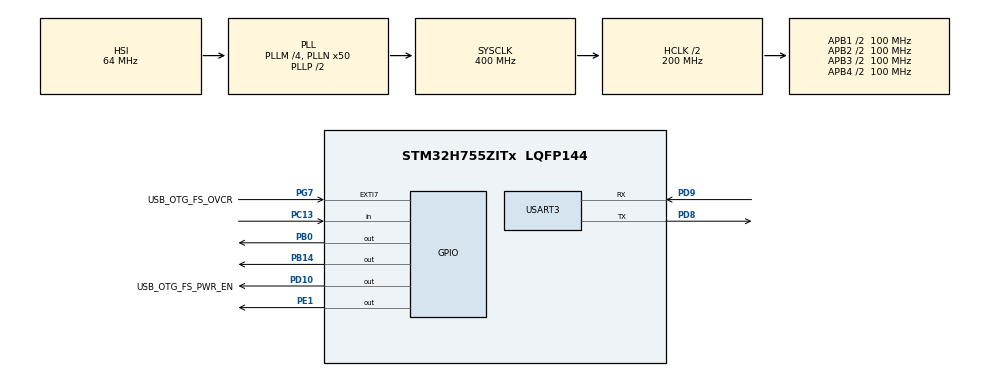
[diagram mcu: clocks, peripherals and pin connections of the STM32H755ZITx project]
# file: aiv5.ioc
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CORTEX_M7.CPU_DCache=Enabled
CORTEX_M7.CPU_ICache=Enabled
CortexM4.IPs=FATFS_M4\:I,FREERTOS_M4\:I,IWDG2\:I,RCC,WWDG2\:I,DMA,BDMA,MDMA,NVIC2\:I,ETH,DEBUG,PDM2PCM_M4\:I,PWR,RESMGR_UTILITY,SYS_M4\:I,USB_DEVICE_M4\:I,USB_HOST_M4\:I,CORTEX_M4\:I,GPIO,OPENAMP_M4\:I,VREFBUF,NUCLEO-H755ZI-Q,USART3
CortexM7.IPs=FATFS_M7\:I,FREERTOS_M7\:I,IWDG1\:I,RCC\:I,WWDG1\:I,DMA\:I,BDMA\:I,MDMA\:I,NVIC1\:I,ETH\:I,USART3\:I,USB_OTG_FS\:I,SYS\:I,CORTEX_M7\:I,DEBUG\:I,PDM2PCM_M7\:I,PWR\:I,RESMGR_UTILITY\:I,USB_DEVICE_M7\:I,USB_HOST_M7\:I,GPIO\:I,OPENAMP_M7\:I,VREFBUF\:I,NUCLEO-H755ZI-Q\:I,STMicroelectronics.X-CUBE-AI.8.1.0_M7\:I,CRC\:I
Mcu.Family=STM32H7
Mcu.Name=STM32H755ZITx
Mcu.Package=LQFP144
NVIC1.PriorityGroup=NVIC_PRIORITYGROUP_4
NVIC2.PriorityGroup=NVIC_PRIORITYGROUP_4
PA1.PinAttribute=CortexM7
PA1.Signal=ETH_REF_CLK
PA11.PinAttribute=CortexM7
PA11.Signal=USB_OTG_FS_DM
PA12.PinAttribute=CortexM7
PA12.Signal=USB_OTG_FS_DP
PA2.PinAttribute=CortexM7
PA2.Signal=ETH_MDIO
PA7.PinAttribute=CortexM7
PA7.Signal=ETH_CRS_DV
PA8.PinAttribute=CortexM7
PA8.Signal=USB_OTG_FS_SOF
PA9.PinAttribute=CortexM7
PA9.Signal=USB_OTG_FS_VBUS
PB0.PinAttribute=Free
PB0.Signal=GPIO_Output
PB13.PinAttribute=CortexM7
PB13.Signal=ETH_TXD1
PB14.PinAttribute=Free
PB14.Signal=GPIO_Output
PC1.PinAttribute=CortexM7
PC1.Signal=ETH_MDC
PC13.PinAttribute=Free
PC13.Signal=GPIO_Input
PC14-OSC32_IN\ (OSC32_IN).PinAttribute=Free
PC14-OSC32_IN\ (OSC32_IN).Signal=RCC_OSC32_IN
PC15-OSC32_OUT\ (OSC32_OUT).PinAttribute=Free
PC15-OSC32_OUT\ (OSC32_OUT).Signal=RCC_OSC32_OUT
PC4.PinAttribute=CortexM7
PC4.Signal=ETH_RXD0
PC5.PinAttribute=CortexM7
PC5.Signal=ETH_RXD1
PD10.GPIO_Label=USB_OTG_FS_PWR_EN
PD10.PinAttribute=Free
PD10.Signal=GPIO_Output
PD8.Mode=Asynchronous
PD8.PinAttribute=CortexM7
PD8.Signal=USART3_TX
PD9.Mode=Asynchronous
PD9.PinAttribute=CortexM7
PD9.Signal=USART3_RX
PE1.PinAttribute=Free
PE1.Signal=GPIO_Output
PG11.PinAttribute=CortexM7
PG11.Signal=ETH_TX_EN
PG13.PinAttribute=CortexM7
PG13.Signal=ETH_TXD0
PG7.GPIO_Label=USB_OTG_FS_OVCR
PG7.PinAttribute=Free
PG7.Signal=GPXTI7
PH0-OSC_IN\ (PH0).Mode=HSE-External-Clock-Source
PH0-OSC_IN\ (PH0).PinAttribute=Free
PH0-OSC_IN\ (PH0).Signal=RCC_OSC_IN
PH1-OSC_OUT\ (PH1).PinAttribute=Free
PH1-OSC_OUT\ (PH1).Signal=RCC_OSC_OUT
ProjectManager.HeapSize=M4-0x200,M7-0x200
ProjectManager.StackSize=M4-0x400,M7-0x400
ProjectManager.TargetToolchain=STM32CubeIDE
RCC.ADCFreq_Value=129000000
RCC.APB1Freq_Value=100000000
RCC.APB2Freq_Value=100000000
RCC.APB3Freq_Value=100000000
RCC.APB4Freq_Value=100000000
RCC.CortexFreq_Value=400000000
RCC.D1PPRE=RCC_APB3_DIV2
RCC.D2PPRE1=RCC_APB1_DIV2
RCC.D2PPRE2=RCC_APB2_DIV2
RCC.D3PPRE=RCC_APB4_DIV2
RCC.DIVM1=4
RCC.DIVN1=50
RCC.DIVQ1=5
RCC.HCLKFreq_Value=200000000
RCC.HPRE=RCC_HCLK_DIV2
RCC.HSE_VALUE=8000000
RCC.PLL2FRACN=0
RCC.PLL3FRACN=0
RCC.PLLFRACN=0
RCC.SYSCLKFreq_VALUE=400000000
RCC.SYSCLKSource=RCC_SYSCLKSOURCE_PLLCLK
RCC.SupplySource=PWR_DIRECT_SMPS_SUPPLY
RCC.USBFreq_Value=160000000
STMicroelectronics.X-CUBE-AI.8.1.0_M7.ActivationBufferSizeList=95028
STMicroelectronics.X-CUBE-AI.8.1.0_M7.ActivationBuffers=pool0
STMicroelectronics.X-CUBE-AI.8.1.0_M7.ActivationNames=pool0
STMicroelectronics.X-CUBE-AI.8.1.0_M7.ActivationSizes=AI_NETWORK_DATA_ACTIVATION_1_SIZE
STMicroelectronics.X-CUBE-AI.8.1.0_M7.ApplicationCcDeviceJjApplication=ApplicationTemplate
STMicroelectronics.X-CUBE-AI.8.1.0_M7.HeapSize=0x800
STMicroelectronics.X-CUBE-AI.8.1.0_M7.InternalRamActivationBufferMaxSize=AI_NETWORK_DATA_ACTIVATIONS_SIZE
STMicroelectronics.X-CUBE-AI.8.1.0_M7.LatestDirectoryUsed-cd3fb7eecf307ad350cd4b7abc4d33ec42c45102615e5b3e1fad2fab63f1bacb=C\:\\Users\\bjs\\Downloads\\HAR-CNN-Keras-master\\HAR-CNN-Keras-master
STMicroelectronics.X-CUBE-AI.8.1.0_M7.MaximumNumberOfInputLayer=1
STMicroelectronics.X-CUBE-AI.8.1.0_M7.MaximumNumberOfOutputLayer=1
STMicroelectronics.X-CUBE-AI.8.1.0_M7.MaximumSizeOfInputLayer=1
STMicroelectronics.X-CUBE-AI.8.1.0_M7.MaximumSizeOfOutputLayer=1
STMicroelectronics.X-CUBE-AI.8.1.0_M7.ModelActualCompression-cd3fb7eecf307ad350cd4b7abc4d33ec42c45102615e5b3e1fad2fab63f1bacb=3.726838
STMicroelectronics.X-CUBE-AI.8.1.0_M7.ModelCompression-cd3fb7eecf307ad350cd4b7abc4d33ec42c45102615e5b3e1fad2fab63f1bacb=Low
STMicroelectronics.X-CUBE-AI.8.1.0_M7.ModelFlashOccupation-cd3fb7eecf307ad350cd4b7abc4d33ec42c45102615e5b3e1fad2fab63f1bacb=811590
STMicroelectronics.X-CUBE-AI.8.1.0_M7.ModelHashList=cd3fb7eecf307ad350cd4b7abc4d33ec42c45102615e5b3e1fad2fab63f1bacb
STMicroelectronics.X-CUBE-AI.8.1.0_M7.ModelKind-cd3fb7eecf307ad350cd4b7abc4d33ec42c45102615e5b3e1fad2fab63f1bacb=KERAS
STMicroelectronics.X-CUBE-AI.8.1.0_M7.ModelMacc-cd3fb7eecf307ad350cd4b7abc4d33ec42c45102615e5b3e1fad2fab63f1bacb=875232
STMicroelectronics.X-CUBE-AI.8.1.0_M7.ModelName-cd3fb7eecf307ad350cd4b7abc4d33ec42c45102615e5b3e1fad2fab63f1bacb=network
STMicroelectronics.X-CUBE-AI.8.1.0_M7.ModelNameList=network
STMicroelectronics.X-CUBE-AI.8.1.0_M7.ModelRamOccupation-cd3fb7eecf307ad350cd4b7abc4d33ec42c45102615e5b3e1fad2fab63f1bacb=95028
STMicroelectronics.X-CUBE-AI.8.1.0_M7.ModelStructureFile-cd3fb7eecf307ad350cd4b7abc4d33ec42c45102615e5b3e1fad2fab63f1bacb=C\:\\Users\\bjs\\Downloads\\HAR-CNN-Keras-master\\HAR-CNN-Keras-master\\model.h5
STMicroelectronics.X-CUBE-AI.8.1.0_M7.ModelType-cd3fb7eecf307ad350cd4b7abc4d33ec42c45102615e5b3e1fad2fab63f1bacb=Saved model
STMicroelectronics.X-CUBE-AI.8.1.0_M7.ReadyForCodeGeneration=true
STMicroelectronics.X-CUBE-AI.8.1.0_M7.StackSize=0x800
STMicroelectronics.X-CUBE-AI.8.1.0_M7.WorkingBufferStartAddrList=0xFFFFFFFF
STMicroelectronics.X-CUBE-AI.8.1.0_M7.XAaCUBEAaAICcArtificialOoIntelligenceJjCore=true
STMicroelectronics.X-CUBE-AI.8.1.0_M7.copyWeightToRam=false
STMicroelectronics.X-CUBE-AI.8.1.0_M7.copyWeightToRam-cd3fb7eecf307ad350cd4b7abc4d33ec42c45102615e5b3e1fad2fab63f1bacb=false
STMicroelectronics.X-CUBE-AI.8.1.0_M7.customLayerConfigEnabled=false
STMicroelectronics.X-CUBE-AI.8.1.0_M7.customLayerConfigEnabled-cd3fb7eecf307ad350cd4b7abc4d33ec42c45102615e5b3e1fad2fab63f1bacb=false
STMicroelectronics.X-CUBE-AI.8.1.0_M7.noOnnxIoTranspose=false
STMicroelectronics.X-CUBE-AI.8.1.0_M7.noOnnxIoTranspose-cd3fb7eecf307ad350cd4b7abc4d33ec42c45102615e5b3e1fad2fab63f1bacb=false
STMicroelectronics.X-CUBE-AI.8.1.0_M7.useInputAllocation=true
STMicroelectronics.X-CUBE-AI.8.1.0_M7.useInputAllocation-cd3fb7eecf307ad350cd4b7abc4d33ec42c45102615e5b3e1fad2fab63f1bacb=true
STMicroelectronics.X-CUBE-AI.8.1.0_M7.useOutputAllocation=true
STMicroelectronics.X-CUBE-AI.8.1.0_M7.useOutputAllocation-cd3fb7eecf307ad350cd4b7abc4d33ec42c45102615e5b3e1fad2fab63f1bacb=true
USART3.VirtualMode-Asynchronous=VM_ASYNC
VP_CRC_VS_CRC.Mode=CRC_Activate
VP_STMicroelectronics.X-CUBE-AI_M7_VS_ArtificialOoIntelligenceJjXAaCUBEAaAI_8.1.0.Mode=ArtificialOoIntelligenceJjXAaCUBEAaAI
VP_STMicroelectronics.X-CUBE-AI_M7_VS_DeviceJjApplication_8.1.0.Mode=DeviceJjApplication
VP_SYS_M4_VS_Systick.Mode=SysTick
board=NUCLEO-H755ZI-Q

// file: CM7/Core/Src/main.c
/* USER CODE BEGIN Header */
/**
  ******************************************************************************
  * @file           : main.c
  * @brief          : Main program body
  ******************************************************************************
  * @attention
  *
  * Copyright (c) 2024 STMicroelectronics.
  * All rights reserved.
  *
  * This software is licensed under terms that can be found in the LICENSE file
  * in the root directory of this software component.
  * If no LICENSE file comes with this software, it is provided AS-IS.
  *
  ******************************************************************************
  */
/* USER CODE END Header */
#include "main.h"
#include "app_x-cube-ai.h"

/* USER CODE BEGIN Includes */
#include "ai_platform.h"
#include "network.h"
#include "network_data.h"
#include <stdlib.h>  // For random number generation
#include <time.h>    // For seeding the random number generator
/* USER CODE END Includes */

/* USER CODE BEGIN PD */

#ifndef HSEM_ID_0
#define HSEM_ID_0 (0U) /* HW semaphore 0*/
#endif

/* USER CODE END PD */

CRC_HandleTypeDef hcrc;

UART_HandleTypeDef huart3;

/* USER CODE BEGIN PV */
volatile uint32_t dataRdyIntReceived;
ai_handle network;
float aiInData[AI_NETWORK_IN_1_SIZE];
float aiOutData[AI_NETWORK_OUT_1_SIZE];
ai_u8 activations[AI_NETWORK_DATA_ACTIVATIONS_SIZE];
const char* activities[AI_NETWORK_OUT_1_SIZE] = {
  "stationary", "walking", "running"
};
ai_buffer * ai_input;
ai_buffer * ai_output;
/* USER CODE END PV */

void SystemClock_Config(void);
static void MX_GPIO_Init(void);
static void MX_CRC_Init(void);
static void MX_USART3_UART_Init(void);
/* USER CODE BEGIN PFP */
static void MEMS_Init(void);
static void AI_Init(void);
static void AI_Run(float *pIn, float *pOut);
static uint32_t argmax(const float * values, uint32_t len);
/* USER CODE END PFP */

int main(void)
{

  /* USER CODE BEGIN 1 */
  srand((unsigned) time(NULL));
//  float testx[100] = {-16,-17,-16,-17,-17,-16,-17,-16,-17,-17,-16,-17,-16,-17,-17,-16,-17,-16,-17,-17,-16,-17,-16,-17,-17,-16,-17,-16,-17,-17,-16,-17,-16,-17,-17,-16,-17,-16,-17,-17,-16,-17,-16,-17,-17,-16,-17,-16,-17,-17,-16,-17,-16,-17,-17,-16,-17,-16,-17,-17,-16,-17,-16,-17,-17,-16,-17,-16,-17,-17,-16,-17,-16,-17,-17,-16,-17,-16,-17,-17,-16,-17,-16,-17,-17,-16,-17,-16,-17,-17,-16,-17,-16,-17,-17,-16,-17,-16,-17,-17};
//
//  float testy[100] = {-12,-12,-12,-12,-15,-12,-12,-12,-12,-15,-12,-12,-12,-12,-15,-12,-12,-12,-12,-15,-12,-12,-12,-12,-15,-12,-12,-12,-12,-15,-12,-12,-12,-12,-15,-12,-12,-12,-12,-15,-12,-12,-12,-12,-15,-12,-12,-12,-12,-15,-12,-12,-12,-12,-15,-12,-12,-12,-12,-15,-12,-12,-12,-12,-15,-12,-12,-12,-12,-15,-12,-12,-12,-12,-15,-12,-12,-12,-12,-15,-12,-12,-12,-12,-15,-12,-12,-12,-12,-15,-12,-12,-12,-12,-15,-12,-12,-12,-12,-15};
//  float testz[100] = {1036,1041,1039,1042,1041,1036,1041,1039,1042,1041,1036,1041,1039,1042,1041,1036,1041,1039,1042,1041,1036,1041,1039,1042,1041,1036,1041,1039,1042,1041,1036,1041,1039,1042,1041,1036,1041,1039,1042,1041,1036,1041,1039,1042,1041,1036,1041,1039,1042,1041,1036,1041,1039,1042,1041,1036,1041,1039,1042,1041,1036,1041,1039,1042,1041,1036,1041,1039,1042,1041,1036,1041,1039,1042,1041,1036,1041,1039,1042,1041,1036,1041,1039,1042,1041,1036,1041,1039,1042,1041,1036,1041,1039,1042,1041,1036,1041,1039,1042,1041};

//  int counter;
  	int testx =-2000;
    int testy=-1000;
    int testz=1040;
  /* USER CODE END 1 */
/* USER CODE BEGIN Boot_Mode_Sequence_0 */
  int32_t timeout;
/* USER CODE END Boot_Mode_Sequence_0 */

  /* Enable the CPU Cache */

  /* Enable I-Cache---------------------------------------------------------*/
  SCB_EnableICache();

  /* Enable D-Cache---------------------------------------------------------*/
  SCB_EnableDCache();

/* USER CODE BEGIN Boot_Mode_Sequence_1 */
  /* Wait until CPU2 boots and enters in stop mode or timeout*/
  timeout = 0xFFFF;
  while((__HAL_RCC_GET_FLAG(RCC_FLAG_D2CKRDY) != RESET) && (timeout-- > 0));
  if ( timeout < 0 )
  {
  Error_Handler();
  }
/* USER CODE END Boot_Mode_Sequence_1 */
  /* MCU Configuration--------------------------------------------------------*/

  /* Reset of all peripherals, Initializes the Flash interface and the Systick. */
  HAL_Init();

  /* Configure the system clock */
  SystemClock_Config();
/* USER CODE BEGIN Boot_Mode_Sequence_2 */
/* When system initialization is finished, Cortex-M7 will release Cortex-M4 by means of
HSEM notification */
/*HW semaphore Clock enable*/
__HAL_RCC_HSEM_CLK_ENABLE();
/*Take HSEM */
HAL_HSEM_FastTake(HSEM_ID_0);
/*Release HSEM in order to notify the CPU2(CM4)*/
HAL_HSEM_Release(HSEM_ID_0,0);
/* wait until CPU2 wakes up from stop mode */
timeout = 0xFFFF;
while((__HAL_RCC_GET_FLAG(RCC_FLAG_D2CKRDY) == RESET) && (timeout-- > 0));
if ( timeout < 0 )
{
Error_Handler();
}
/* USER CODE END Boot_Mode_Sequence_2 */

  /* Initialize all configured peripherals */
  MX_GPIO_Init();
  MX_CRC_Init();
  MX_USART3_UART_Init();
  MX_X_CUBE_AI_Init();
  /* USER CODE BEGIN 2 */
  AI_Init();
  /* USER CODE END 2 */

  /* Infinite loop */
  /* USER CODE BEGIN WHILE */
  uint32_t write_index = 0;
  while (1)
  {
	  dataRdyIntReceived=1;
	  if (dataRdyIntReceived != 0) {
//	      testx = (float)(rand() % 4000 - 2000);
//	      testy = (float)(rand() % 4000 - 2000);
//	      testz = (float)(rand() % 4000 - 2000);
	      dataRdyIntReceived = 0;
	      //printf("% 5d, % 5d, % 5d\r\n",  (int) testx, (int) testy, (int) testz);
//	      if(counter==99)
//		  {
//	    	  counter=0;
//		  }
//	      counter++;
//	      aiInData[write_index + 0] = (float) testx[counter] / 4000.0f;
//		  aiInData[write_index + 1] = (float) testy[counter] / 4000.0f;
//		  aiInData[write_index + 2] = (float) testz[counter] / 4000.0f;
	      aiInData[write_index + 0] = (float) testx / 4000.0f;
		  aiInData[write_index + 1] = (float) testy / 4000.0f;
		  aiInData[write_index + 2] = (float) testz / 4000.0f;
		  write_index += 3;
		  if (write_index == AI_NETWORK_IN_1_SIZE) {
		          write_index = 0;

		          printf("Running inference\r\n");
		          AI_Run(aiInData, aiOutData);

		          /* Output results */
		          for (uint32_t i = 0; i < AI_NETWORK_OUT_1_SIZE; i++) {
		            printf("%8.6f ", aiOutData[i]);
		          }
		          uint32_t class = argmax(aiOutData, AI_NETWORK_OUT_1_SIZE);
		          printf(": %d - %s\r\n", (int) class, activities[class]);

		  }

	  }
    /* USER CODE END WHILE */

  //MX_X_CUBE_AI_Process();
  }
}

void SystemClock_Config(void)
{
  RCC_OscInitTypeDef RCC_OscInitStruct = {0};
  RCC_ClkInitTypeDef RCC_ClkInitStruct = {0};

  /** Supply configuration update enable
  */
  HAL_PWREx_ConfigSupply(PWR_DIRECT_SMPS_SUPPLY);

  /** Configure the main internal regulator output voltage
  */
  __HAL_PWR_VOLTAGESCALING_CONFIG(PWR_REGULATOR_VOLTAGE_SCALE1);

  while(!__HAL_PWR_GET_FLAG(PWR_FLAG_VOSRDY)) {}

  /** Initializes the RCC Oscillators according to the specified parameters
  * in the RCC_OscInitTypeDef structure.
  */
  RCC_OscInitStruct.OscillatorType = RCC_OSCILLATORTYPE_HSI;
  RCC_OscInitStruct.HSIState = RCC_HSI_DIV1;
  RCC_OscInitStruct.HSICalibrationValue = RCC_HSICALIBRATION_DEFAULT;
  RCC_OscInitStruct.PLL.PLLState = RCC_PLL_ON;
  RCC_OscInitStruct.PLL.PLLSource = RCC_PLLSOURCE_HSI;
  RCC_OscInitStruct.PLL.PLLM = 4;
  RCC_OscInitStruct.PLL.PLLN = 50;
  RCC_OscInitStruct.PLL.PLLP = 2;
  RCC_OscInitStruct.PLL.PLLQ = 5;
  RCC_OscInitStruct.PLL.PLLR = 2;
  RCC_OscInitStruct.PLL.PLLRGE = RCC_PLL1VCIRANGE_3;
  RCC_OscInitStruct.PLL.PLLVCOSEL = RCC_PLL1VCOWIDE;
  RCC_OscInitStruct.PLL.PLLFRACN = 0;
  if (HAL_RCC_OscConfig(&RCC_OscInitStruct) != HAL_OK)
  {
    Error_Handler();
  }

  /** Initializes the CPU, AHB and APB buses clocks
  */
  RCC_ClkInitStruct.ClockType = RCC_CLOCKTYPE_HCLK|RCC_CLOCKTYPE_SYSCLK
                              |RCC_CLOCKTYPE_PCLK1|RCC_CLOCKTYPE_PCLK2
                              |RCC_CLOCKTYPE_D3PCLK1|RCC_CLOCKTYPE_D1PCLK1;
  RCC_ClkInitStruct.SYSCLKSource = RCC_SYSCLKSOURCE_PLLCLK;
  RCC_ClkInitStruct.SYSCLKDivider = RCC_SYSCLK_DIV1;
  RCC_ClkInitStruct.AHBCLKDivider = RCC_HCLK_DIV2;
  RCC_ClkInitStruct.APB3CLKDivider = RCC_APB3_DIV2;
  RCC_ClkInitStruct.APB1CLKDivider = RCC_APB1_DIV2;
  RCC_ClkInitStruct.APB2CLKDivider = RCC_APB2_DIV2;
  RCC_ClkInitStruct.APB4CLKDivider = RCC_APB4_DIV2;

  if (HAL_RCC_ClockConfig(&RCC_ClkInitStruct, FLASH_LATENCY_2) != HAL_OK)
  {
    Error_Handler();
  }
}

static void MX_CRC_Init(void)
{

  hcrc.Instance = CRC;
  hcrc.Init.DefaultPolynomialUse = DEFAULT_POLYNOMIAL_ENABLE;
  hcrc.Init.DefaultInitValueUse = DEFAULT_INIT_VALUE_ENABLE;
  hcrc.Init.InputDataInversionMode = CRC_INPUTDATA_INVERSION_NONE;
  hcrc.Init.OutputDataInversionMode = CRC_OUTPUTDATA_INVERSION_DISABLE;
  hcrc.InputDataFormat = CRC_INPUTDATA_FORMAT_BYTES;
  if (HAL_CRC_Init(&hcrc) != HAL_OK)
  {
    Error_Handler();
  }

}

static void MX_USART3_UART_Init(void)
{

  huart3.Instance = USART3;
  huart3.Init.BaudRate = 115200;
  huart3.Init.WordLength = UART_WORDLENGTH_8B;
  huart3.Init.StopBits = UART_STOPBITS_1;
  huart3.Init.Parity = UART_PARITY_NONE;
  huart3.Init.Mode = UART_MODE_TX_RX;
  huart3.Init.HwFlowCtl = UART_HWCONTROL_NONE;
  huart3.Init.OverSampling = UART_OVERSAMPLING_16;
  huart3.Init.OneBitSampling = UART_ONE_BIT_SAMPLE_DISABLE;
  huart3.Init.ClockPrescaler = UART_PRESCALER_DIV1;
  huart3.AdvancedInit.AdvFeatureInit = UART_ADVFEATURE_NO_INIT;
  if (HAL_UART_Init(&huart3) != HAL_OK)
  {
    Error_Handler();
  }
  if (HAL_UARTEx_SetTxFifoThreshold(&huart3, UART_TXFIFO_THRESHOLD_1_8) != HAL_OK)
  {
    Error_Handler();
  }
  if (HAL_UARTEx_SetRxFifoThreshold(&huart3, UART_RXFIFO_THRESHOLD_1_8) != HAL_OK)
  {
    Error_Handler();
  }
  if (HAL_UARTEx_DisableFifoMode(&huart3) != HAL_OK)
  {
    Error_Handler();
  }

}

static void MX_GPIO_Init(void)
{
  GPIO_InitTypeDef GPIO_InitStruct = {0};

  /* GPIO Ports Clock Enable */
  __HAL_RCC_GPIOC_CLK_ENABLE();
  __HAL_RCC_GPIOA_CLK_ENABLE();
  __HAL_RCC_GPIOB_CLK_ENABLE();
  __HAL_RCC_GPIOD_CLK_ENABLE();
  __HAL_RCC_GPIOG_CLK_ENABLE();

  /*Configure GPIO pins : PC1 PC4 PC5 */
  GPIO_InitStruct.Pin = GPIO_PIN_1|GPIO_PIN_4|GPIO_PIN_5;
  GPIO_InitStruct.Mode = GPIO_MODE_AF_PP;
  GPIO_InitStruct.Pull = GPIO_NOPULL;
  GPIO_InitStruct.Speed = GPIO_SPEED_FREQ_LOW;
  GPIO_InitStruct.Alternate = GPIO_AF11_ETH;
  HAL_GPIO_Init(GPIOC, &GPIO_InitStruct);

  /*Configure GPIO pins : PA1 PA2 PA7 */
  GPIO_InitStruct.Pin = GPIO_PIN_1|GPIO_PIN_2|GPIO_PIN_7;
  GPIO_InitStruct.Mode = GPIO_MODE_AF_PP;
  GPIO_InitStruct.Pull = GPIO_NOPULL;
  GPIO_InitStruct.Speed = GPIO_SPEED_FREQ_LOW;
  GPIO_InitStruct.Alternate = GPIO_AF11_ETH;
  HAL_GPIO_Init(GPIOA, &GPIO_InitStruct);

  /*Configure GPIO pin : PB13 */
  GPIO_InitStruct.Pin = GPIO_PIN_13;
  GPIO_InitStruct.Mode = GPIO_MODE_AF_PP;
  GPIO_InitStruct.Pull = GPIO_NOPULL;
  GPIO_InitStruct.Speed = GPIO_SPEED_FREQ_LOW;
  GPIO_InitStruct.Alternate = GPIO_AF11_ETH;
  HAL_GPIO_Init(GPIOB, &GPIO_InitStruct);

  /*Configure GPIO pins : PA8 PA11 PA12 */
  GPIO_InitStruct.Pin = GPIO_PIN_8|GPIO_PIN_11|GPIO_PIN_12;
  GPIO_InitStruct.Mode = GPIO_MODE_AF_PP;
  GPIO_InitStruct.Pull = GPIO_NOPULL;
  GPIO_InitStruct.Speed = GPIO_SPEED_FREQ_LOW;
  GPIO_InitStruct.Alternate = GPIO_AF10_OTG1_FS;
  HAL_GPIO_Init(GPIOA, &GPIO_InitStruct);

  /*Configure GPIO pins : PG11 PG13 */
  GPIO_InitStruct.Pin = GPIO_PIN_11|GPIO_PIN_13;
  GPIO_InitStruct.Mode = GPIO_MODE_AF_PP;
  GPIO_InitStruct.Pull = GPIO_NOPULL;
  GPIO_InitStruct.Speed = GPIO_SPEED_FREQ_LOW;
  GPIO_InitStruct.Alternate = GPIO_AF11_ETH;
  HAL_GPIO_Init(GPIOG, &GPIO_InitStruct);

}

/* USER CODE BEGIN 4 */
int _write(int fd, char * ptr, int len)
{
  HAL_UART_Transmit(&huart3, (uint8_t *) ptr, len, HAL_MAX_DELAY);
  return len;
}

static void AI_Init(void)
{
  ai_error err;

  /* Create a local array with the addresses of the activations buffers */
  const ai_handle act_addr[] = { activations };
  /* Create an instance of the model */
  err = ai_network_create_and_init(&network, act_addr, NULL);
  if (err.type != AI_ERROR_NONE) {
    printf("ai_network_create error - type=%d code=%d\r\n", err.type, err.code);
    Error_Handler();
  }
  ai_input = ai_network_inputs_get(network, NULL);
  ai_output = ai_network_outputs_get(network, NULL);
}
static void AI_Run(float *pIn, float *pOut)
{
  ai_i32 batch;
  ai_error err;

  /* Update IO handlers with the data payload */
  ai_input[0].data = AI_HANDLE_PTR(pIn);
  ai_output[0].data = AI_HANDLE_PTR(pOut);

  batch = ai_network_run(network, ai_input, ai_output);
  if (batch != 1) {
    err = ai_network_get_error(network);
    printf("AI ai_network_run error - type=%d code=%d\r\n", err.type, err.code);
    Error_Handler();
  }
}
static uint32_t argmax(const float * values, uint32_t len)
{
  float max_value = values[0];
  uint32_t max_index = 0;
  for (uint32_t i = 1; i < len; i++) {
    if (values[i] > max_value) {
      max_value = values[i];
      max_index = i;
    }
  }
  return max_index;
}
/* USER CODE END 4 */

void Error_Handler(void)
{
  __disable_irq();
  while (1)
  {
  }
}
